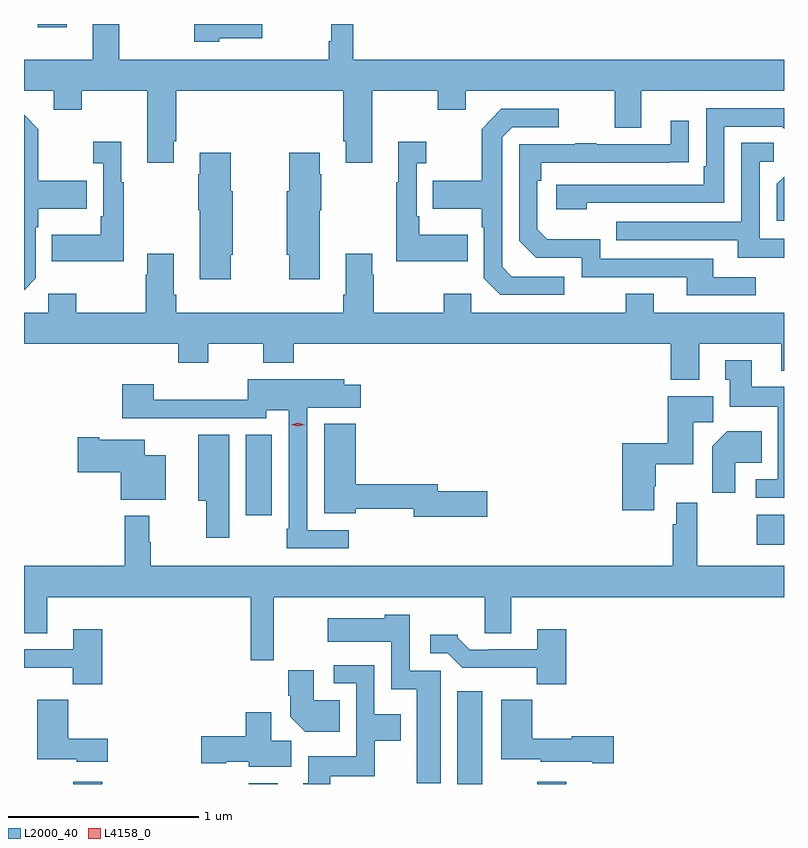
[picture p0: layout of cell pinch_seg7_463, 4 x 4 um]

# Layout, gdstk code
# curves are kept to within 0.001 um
import gdstk
lib = gdstk.Library(unit=1e-6, precision=1e-09)
def R(c, l, rs):  # rectangles x0, y0, x1, y1
    for r in rs: c.add(gdstk.rectangle(r[:2], r[2:], *l))
def P(c, l, *ps):  # polygons
    for p in ps: c.add(gdstk.Polygon(p, *l))
L2000_40 = (2000, 40)
L4158_0 = (4158, 0)

pinch_seg7_463 = lib.new_cell('pinch_seg7_463')
R(pinch_seg7_463, L2000_40, [(217.055,1075.556,217.208,1075.567), (217.979,1075.556,218.131,1075.561), (219.077,1075.556,219.208,1076.044), (219.497,1075.556,219.65,1075.567), (220.653,1076.816,220.796,1076.974), (217.964,1076.97,218.101,1077.395), (216.869,1079.538,217.021,1079.556)])
P(pinch_seg7_463, L2000_40, [(217.585,1078.939),(217.598,1078.939),(217.598,1079.204),(218.477,1079.204),(218.477,1078.939),(218.489,1078.939),(218.489,1078.827),(218.629,1078.827),(218.629,1079.204),(218.974,1079.204),(218.974,1079.105),(219.121,1079.105),(219.121,1079.204),(219.905,1079.204),(219.905,1079.01),(220.045,1079.01),(220.045,1079.204),(220.796,1079.204),(220.796,1079.368),(218.528,1079.368),(218.528,1079.556),(218.412,1079.556),(218.412,1079.464),(218.4,1079.464),(218.4,1079.368),(217.297,1079.368),(217.297,1079.556),(217.157,1079.556),(217.157,1079.368),(216.796,1079.368),(216.796,1079.204),(216.953,1079.204),(216.953,1079.105),(217.101,1079.105),(217.101,1079.204),(217.445,1079.204),(217.445,1078.827),(217.585,1078.827)],
  [(217.824,1079.48),(218.05,1079.48),(218.05,1079.556),(217.692,1079.556),(217.692,1079.462),(217.824,1079.462)],
  [(219.758,1078.614),(220.482,1078.614),(220.482,1079.016),(220.785,1079.016),(220.796,1079.005),(220.796,1079.112),(220.386,1079.112),(220.386,1078.807),(220.373,1078.807),(220.373,1078.71),(219.597,1078.71),(219.597,1078.58),(219.758,1078.58)],
  [(219.64,1078.227),(219.363,1078.227),(219.312,1078.278),(219.312,1078.959),(219.366,1079.013),(219.61,1079.013),(219.61,1079.109),(219.309,1079.109),(219.204,1079.003),(219.204,1078.731),(218.947,1078.731),(218.947,1078.583),(219.204,1078.583),(219.204,1078.487),(219.216,1078.487),(219.216,1078.218),(219.303,1078.131),(219.64,1078.131)],
  [(216.858,1078.218),(216.858,1078.487),(216.871,1078.487),(216.871,1078.583),(217.127,1078.583),(217.127,1078.731),(216.871,1078.731),(216.871,1079.003),(216.796,1079.078),(216.796,1078.156)],
  [(220.648,1078.224),(220.423,1078.224),(220.423,1078.32),(219.828,1078.32),(219.828,1078.423),(219.551,1078.423),(219.498,1078.476),(219.498,1078.73),(219.518,1078.73),(219.518,1078.827),(220.295,1078.828),(220.295,1079.047),(220.199,1079.047),(220.199,1078.923),(219.809,1078.923),(219.809,1078.928),(219.697,1078.928),(219.697,1078.923),(219.402,1078.923),(219.402,1078.416),(219.492,1078.326),(219.732,1078.326),(219.732,1078.224),(220.283,1078.224),(220.283,1078.128),(220.648,1078.128)],
  [(217.321,1078.723),(217.309,1078.723),(217.309,1078.936),(217.161,1078.936),(217.161,1078.823),(217.212,1078.823),(217.212,1078.543),(217.2,1078.543),(217.2,1078.447),(216.943,1078.447),(216.943,1078.307),(217.321,1078.307)],
  [(219.131,1078.447),(218.875,1078.447),(218.875,1078.543),(218.862,1078.543),(218.862,1078.823),(218.914,1078.823),(218.914,1078.936),(218.765,1078.936),(218.765,1078.723),(218.754,1078.723),(218.754,1078.307),(219.131,1078.307)],
  [(220.796,1078.425),(220.668,1078.425),(220.668,1078.83),(220.741,1078.83),(220.741,1078.931),(220.572,1078.931),(220.572,1078.515),(219.913,1078.515),(219.913,1078.419),(220.553,1078.419),(220.553,1078.325),(220.796,1078.325)],
  [(218.353,1078.577),(218.361,1078.577),(218.361,1078.766),(218.353,1078.766),(218.353,1078.879),(218.191,1078.879),(218.191,1078.677),(218.18,1078.677),(218.18,1078.341),(218.191,1078.341),(218.191,1078.212),(218.353,1078.212)],
  [(217.884,1078.341),(217.894,1078.341),(217.894,1078.677),(217.884,1078.677),(217.884,1078.879),(217.721,1078.879),(217.721,1078.766),(217.714,1078.766),(217.714,1078.577),(217.721,1078.577),(217.721,1078.212),(217.884,1078.212)],
  [(220.796,1078.752),(220.758,1078.714),(220.758,1078.521),(220.796,1078.521)],
  [(220.351,1077.872),(220.781,1077.872),(220.781,1077.731),(220.796,1077.731),(220.796,1078.036),(220.111,1078.036),(220.111,1078.135),(219.964,1078.135),(219.964,1078.036),(219.15,1078.036),(219.15,1078.135),(219.004,1078.135),(219.004,1078.036),(218.637,1078.036),(218.637,1078.235),(218.629,1078.235),(218.629,1078.348),(218.489,1078.348),(218.489,1078.132),(218.477,1078.132),(218.477,1078.036),(217.598,1078.036),(217.598,1078.132),(217.585,1078.132),(217.585,1078.348),(217.445,1078.348),(217.445,1078.235),(217.438,1078.235),(217.438,1078.036),(217.071,1078.036),(217.071,1078.135),(216.924,1078.135),(216.924,1078.036),(216.796,1078.036),(216.796,1077.872),(217.607,1077.872),(217.607,1077.773),(217.767,1077.773),(217.767,1077.872),(218.056,1077.872),(218.056,1077.773),(218.216,1077.773),(218.216,1077.872),(220.199,1077.872),(220.199,1077.683),(220.351,1077.683)],
  [(220.796,1077.646),(220.627,1077.646),(220.627,1077.787),(220.487,1077.787),(220.487,1077.684),(220.511,1077.684),(220.511,1077.542),(220.764,1077.542),(220.764,1077.159),(220.647,1077.159),(220.647,1077.063),(220.796,1077.063)],
  [(218.506,1076.892),(218.286,1076.892),(218.286,1077.536),(218.569,1077.536),(218.569,1077.658),(218.481,1077.658),(218.481,1077.685),(217.974,1077.685),(217.974,1077.578),(217.478,1077.578),(217.478,1077.661),(217.313,1077.661),(217.313,1077.48),(218.07,1077.48),(218.07,1077.524),(218.19,1077.524),(218.19,1076.899),(218.178,1076.899),(218.178,1076.796),(218.506,1076.796)],
  [(220.114,1077.124),(220.122,1077.124),(220.122,1077.239),(220.318,1077.239),(220.318,1077.46),(220.423,1077.46),(220.423,1077.598),(220.184,1077.598),(220.184,1077.349),(219.944,1077.349),(219.944,1076.997),(220.114,1076.997)],
  [(219.235,1077.098),(218.974,1077.098),(218.974,1077.134),(218.542,1077.134),(218.542,1077.451),(218.375,1077.451),(218.375,1076.981),(218.542,1076.981),(218.542,1077.006),(218.846,1077.006),(218.846,1076.963),(219.235,1076.963)],
  [(220.54,1077.248),(220.679,1077.248),(220.679,1077.412),(220.496,1077.412),(220.418,1077.334),(220.418,1077.09),(220.54,1077.09)],
  [(217.876,1077.395),(217.712,1077.395),(217.712,1077.047),(217.754,1077.047),(217.754,1076.853),(217.876,1076.853)],
  [(217.543,1077.286),(217.432,1077.286),(217.432,1077.367),(217.192,1077.367),(217.192,1077.38),(217.08,1077.38),(217.08,1077.197),(217.304,1077.197),(217.304,1077.053),(217.543,1077.053)],
  [(218.111,1076.54),(219.221,1076.54),(219.221,1076.35),(219.361,1076.35),(219.361,1076.54),(220.796,1076.54),(220.796,1076.704),(220.339,1076.704),(220.339,1077.037),(220.23,1077.037),(220.23,1076.924),(220.21,1076.924),(220.21,1076.704),(217.463,1076.704),(217.463,1076.828),(217.456,1076.828),(217.456,1076.968),(217.327,1076.968),(217.327,1076.704),(216.796,1076.704),(216.796,1076.35),(216.919,1076.35),(216.919,1076.54),(217.99,1076.54),(217.99,1076.208),(218.111,1076.208)],
  [(218.989,1076.151),(218.826,1076.151),(218.826,1076.446),(218.694,1076.446),(218.694,1076.428),(218.394,1076.428),(218.394,1076.306),(218.73,1076.306),(218.73,1076.054),(218.864,1076.054),(218.864,1075.56),(218.989,1075.56)],
  [(219.65,1076.371),(219.497,1076.371),(219.497,1076.265),(219.241,1076.265),(219.241,1076.262),(219.142,1076.262),(219.078,1076.326),(219.078,1076.341),(218.934,1076.341),(218.934,1076.244),(219.027,1076.244),(219.103,1076.168),(219.495,1076.168),(219.495,1076.081),(219.65,1076.081)],
  [(217.208,1076.371),(217.055,1076.371),(217.055,1076.265),(216.799,1076.265),(216.799,1076.262),(216.796,1076.262),(216.796,1076.168),(217.053,1076.168),(217.053,1076.081),(217.208,1076.081)],
  [(218.407,1075.598),(218.643,1075.598),(218.643,1075.784),(218.779,1075.784),(218.779,1075.924),(218.64,1075.924),(218.64,1076.181),(218.427,1076.181),(218.427,1076.085),(218.544,1076.085),(218.544,1075.702),(218.291,1075.702),(218.291,1075.56),(218.267,1075.56),(218.267,1075.556),(218.407,1075.556)],
  [(218.459,1075.996),(218.32,1075.996),(218.32,1076.155),(218.186,1076.155),(218.186,1076.02),(218.198,1076.02),(218.198,1075.91),(218.276,1075.832),(218.459,1075.832)],
  [(217.237,1075.795),(217.028,1075.795),(217.028,1075.999),(216.866,1075.999),(216.866,1075.685),(217.074,1075.685),(217.074,1075.673),(217.237,1075.673)],
  [(219.901,1075.808),(219.678,1075.808),(219.678,1075.795),(219.47,1075.795),(219.47,1075.999),(219.308,1075.999),(219.308,1075.685),(219.516,1075.685),(219.516,1075.673),(219.788,1075.673),(219.788,1075.666),(219.901,1075.666)],
  [(218.203,1075.784),(218.098,1075.784),(218.098,1075.933),(217.964,1075.933),(217.964,1075.808),(217.728,1075.808),(217.728,1075.666),(217.86,1075.666),(217.86,1075.673),(217.98,1075.673),(217.98,1075.646),(218.203,1075.646)])
P(pinch_seg7_463, L4158_0, [(218.238,1077.438),(218.203,1077.448),(218.203,1077.448),(218.203,1077.448),(218.238,1077.458),(218.273,1077.448),(218.273,1077.448),(218.273,1077.448)])

lib.write_gds('pinch_seg7_463.gds')
